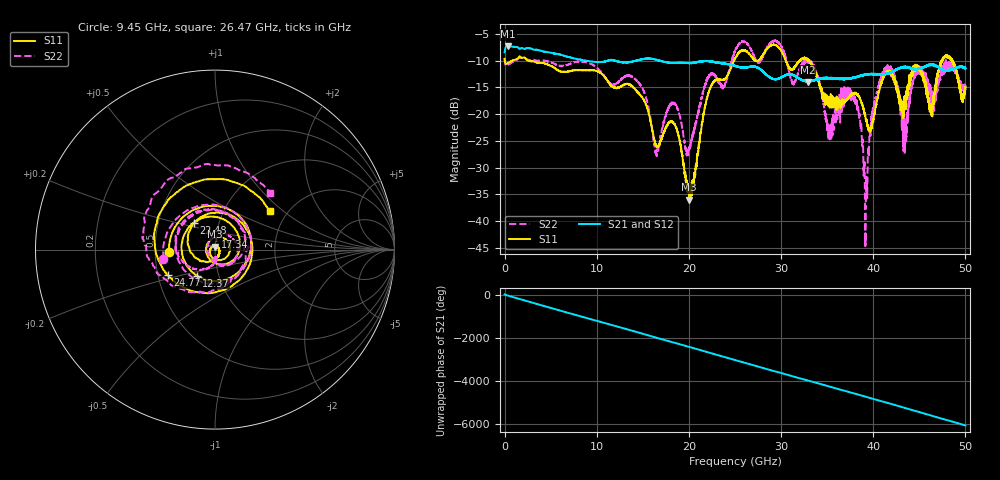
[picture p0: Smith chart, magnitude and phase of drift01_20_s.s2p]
!Created with skrf (http://scikit-rf.org).
# Hz S RI R 50.0
!freq ReS11 ImS11 ReS21 ImS21 ReS12 ImS12 ReS22 ImS22
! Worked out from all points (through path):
!   10001 points, 300 kHz to 50 GHz, reference 50 ohm
!   highest |S21| = -7.33 dB at 395.3 MHz (marker M1); lowest = -14.0 dB at 32.89 GHz (marker M2)
!   group delay of S21, straight-line fit = 335 ps
!   lowest |S11| = -36.0 dB at 20.01 GHz (marker M3), VSWR 1.03, Z = 49.9 + j1.59 ohm
!   |S11| at or under -10 dB: 2.557 GHz to 24.9 GHz (22.35 GHz wide, 163 % of centre); 30.5 GHz to 32.02 GHz (1.513 GHz wide, 4.84 % of centre); 33.05 GHz to 47.41 GHz (14.37 GHz wide, 35.7 % of centre) (the widest 3 of 25)
!   |S22| runs from -44.6 to -6.3 dB; largest |S21 - S12| = 0.0078
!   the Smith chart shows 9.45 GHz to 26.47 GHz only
!   S11 on the Smith chart (normalised r, x): 9.45 GHz: 0.59, -0.02; 12.37 GHz: 0.78, -0.24; 17.34 GHz: 1.00, +0.14; 22.48 GHz: 0.76, +0.23; 24.77 GHz: 0.57, -0.18; 26.47 GHz: 1.64, +0.80
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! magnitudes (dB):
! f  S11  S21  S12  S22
! 300 kHz  -9.7  -8.5  -8.6  -9.6
! 395.3 MHz  -10.4  -7.3  -7.3  -10.8
! 8.335 GHz  -11.8  -9.9  -9.9  -10.2
! 9.45 GHz  -11.8  -10.2  -10.2  -10.7
! 12.37 GHz  -15.0  -10.2  -10.2  -14.0
! 16.67 GHz  -26.2  -10.0  -9.9  -27.0
! 17.34 GHz  -23.2  -10.3  -10.3  -21.2
! 20.01 GHz  -36.0  -10.5  -10.5  -26.3
! 22.48 GHz  -14.5  -10.2  -10.2  -12.6
! 24.77 GHz  -10.5  -10.9  -10.9  -9.2
! 25 GHz  -9.6  -11.0  -11.0  -8.3
! 26.47 GHz  -8.6  -11.2  -11.2  -7.2
! 32.89 GHz  -10.0  -14.0  -13.9  -9.9
! 33.34 GHz  -10.8  -13.8  -13.8  -10.6
! 35.23 GHz  -17.3  -13.3  -13.3  -22.3
! 37.99 GHz  -16.1  -13.2  -13.2  -17.0
! 39.17 GHz  -20.7  -12.6  -12.6  -41.5
! 40.15 GHz  -19.9  -12.5  -12.5  -17.6
! 41.67 GHz  -12.1  -12.3  -12.4  -12.1
! 43.38 GHz  -16.7  -11.3  -11.2  -20.8
! 44.85 GHz  -11.3  -11.6  -11.5  -11.9
! 50 GHz  -15.3  -11.4  -11.4  -15.0
